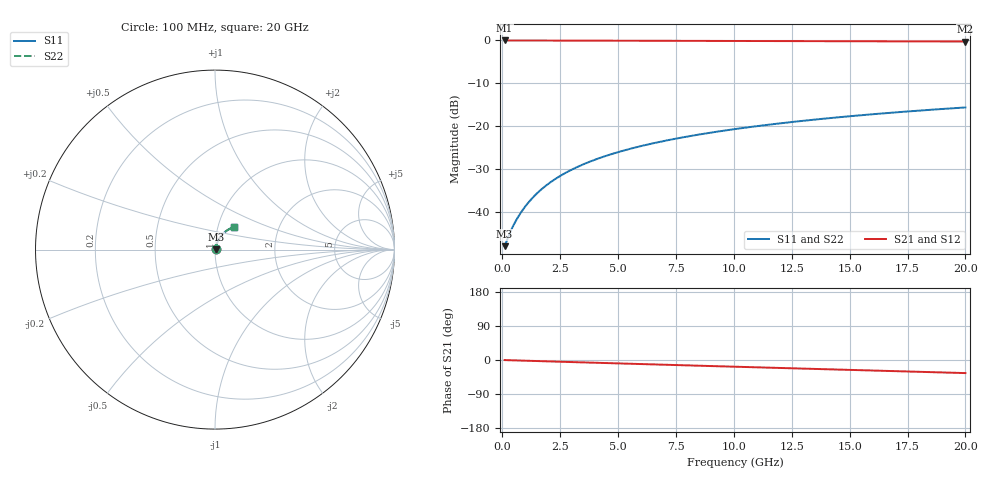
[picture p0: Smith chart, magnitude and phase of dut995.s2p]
! Touchstone file exported from HFSS 2026.1.0
!  File:  C:/ffzhzh/LocalFiles/Ansys_Project_Files/temp_train_TMRDL_995_1783159441_55132.aedt
!  Generated:  06:05:12 PM Jul  4, 2026
!  Design:  TMRDL
!  Project:  temp_train_TMRDL_995_1783159441_55132
! Variables:
!  h_bsmrdl = 2um
!  h_ox = 20um
!  h_rdl = 5um
!  h_sub = 80um
!  h_tmrdl = 5.44um
!  h_tsv = 80um
!  h_via = 3um
!  l_bsmrdl = 300um
!  l_sub = 1010.57um
!  l_tmrdl = 610.57um
!  m_sub = 200um
!  pitch = 18.41um
!  r_tsv = 6um
!  s_tmrdl = 10um
!  w_bsmrdl = 18um
!  w_sub = 500um
!  w_tmrdl = 10.55um
!  x_tsv_center1 = 615.845um
!  x_tsv_center2 = 933.845um
!  x_tsv_center3 = 1554.965um
!  x_tsv_center4 = 1872.965um
!  x_tsv_center5 = 2494.085um
!  x_tsv_center6 = 2812.085um
# GHz S MA R 50.000000
! Terminal data exported
! Port[1] = TM_RDL1_1_T1
! Port[2] = TM_RDL1_1_T2
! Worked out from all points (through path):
!   200 points, 100 MHz to 20 GHz, reference 50 ohm
!   highest |S21| = -0.03 dB at 100 MHz (marker M1); lowest = -0.3 dB at 20 GHz (marker M2)
!   group delay of S21, straight-line fit = 4.77 ps
!   lowest |S11| = -47.8 dB at 100 MHz (marker M3), VSWR 1.01, Z = 50.4 + j0.13 ohm
!   |S11| at or under -10 dB: start of sweep to end of sweep
!   |S22| runs from -47.8 to -15.6 dB; largest |S21 - S12| = 2e-15
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0.1  0.004053 18.6  0.9962 -0.2  0.9962 -0.2  0.004053 18.6
! Gamma 0 0 0 0
! Port Impedance 50 0 50 0
0.3  0.005539 40.3  0.9958 -0.6  0.9958 -0.6  0.005539 40.3
0.4  0.006379 46.4  0.9957 -0.8  0.9957 -0.8  0.006379 46.4
0.5  0.007236 51.0  0.9955 -0.9  0.9955 -0.9  0.007236 51.0
0.7  0.00901 57.7  0.9953 -1.3  0.9953 -1.3  0.00901 57.7
1  0.01181 63.9  0.9951 -1.9  0.9951 -1.9  0.01181 63.9
1.2  0.01373 66.5  0.9949 -2.2  0.9949 -2.2  0.01373 66.5
1.4  0.01569 68.4  0.9948 -2.6  0.9948 -2.6  0.01569 68.4
1.8  0.01964 70.7  0.9944 -3.3  0.9944 -3.3  0.01964 70.7
2.3  0.02458 72.1  0.9939 -4.2  0.9939 -4.2  0.02458 72.1
2.9  0.03046 72.5  0.9931 -5.3  0.9931 -5.3  0.03046 72.5
3.5  0.03623 72.4  0.9923 -6.4  0.9923 -6.4  0.03623 72.4
4.2  0.04282 71.9  0.9913 -7.6  0.9913 -7.6  0.04282 71.9
5  0.05017 71.0  0.9901 -9.0  0.9901 -9.0  0.05017 71.0
5.9  0.05821 69.9  0.9887 -10.6  0.9887 -10.6  0.05821 69.9
6.8  0.06606 68.7  0.9873 -12.2  0.9873 -12.2  0.06605 68.7
8.3  0.07874 66.6  0.9851 -14.7  0.9851 -14.7  0.07874 66.6
10.1  0.09344 64.1  0.9824 -17.8  0.9824 -17.8  0.09344 64.1
11.7  0.1061 61.8  0.9801 -20.6  0.9801 -20.6  0.1061 61.8
13.4  0.1192 59.3  0.9777 -23.4  0.9777 -23.4  0.1192 59.3
16.7  0.1434 54.3  0.9728 -29.0  0.9728 -29.0  0.1434 54.4
20  0.1659 49.3  0.968 -34.5  0.968 -34.5  0.1659 49.4
